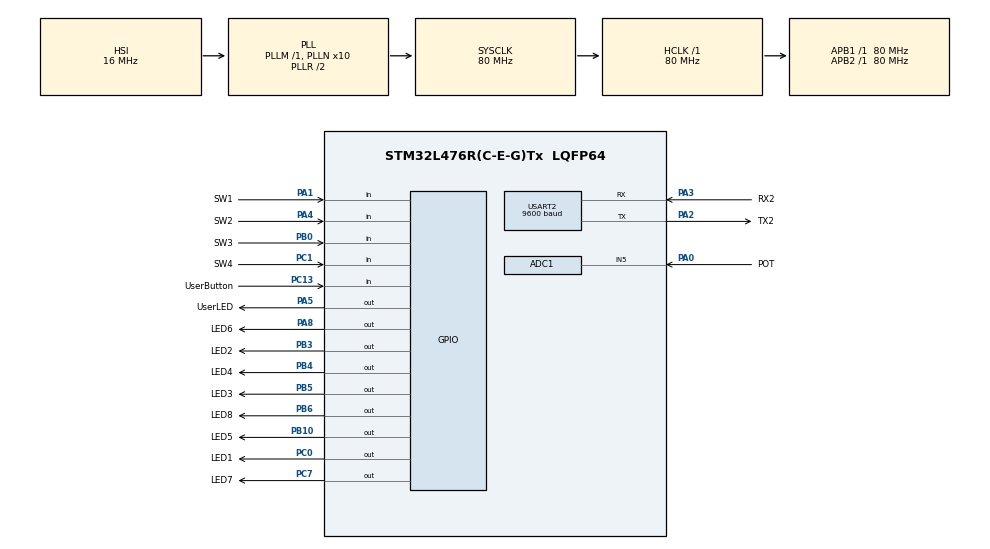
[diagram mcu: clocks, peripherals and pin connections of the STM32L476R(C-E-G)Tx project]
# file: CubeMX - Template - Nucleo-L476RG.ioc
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ADC1.Channel-0\#ChannelRegularConversion=ADC_CHANNEL_5
ADC1.NbrOfConversionFlag=1
ADC1.OffsetNumber-0\#ChannelRegularConversion=ADC_OFFSET_NONE
ADC1.Overrun=ADC_OVR_DATA_OVERWRITTEN
ADC1.Rank-0\#ChannelRegularConversion=1
ADC1.Resolution=ADC_RESOLUTION_12B
ADC1.SamplingTime-0\#ChannelRegularConversion=ADC_SAMPLETIME_2CYCLES_5
ADC1.master=1
FREERTOS.Queues01=adcQueue,1,uint16_t,0,Dynamic,NULL,NULL
FREERTOS.Tasks01=defaultTask,24,128,StartDefaultTask,Default,NULL,Dynamic,NULL,NULL;runningLightTas,24,128,RunningLight,Default,NULL,Dynamic,NULL,NULL;adConvTask,24,128,AdConversion,Default,NULL,Dynamic,NULL,NULL;uartTxTask,24,128,UartTx,Default,NULL,Dynamic,NULL,NULL
FREERTOS.configUSE_NEWLIB_REENTRANT=0
Mcu.Family=STM32L4
Mcu.Name=STM32L476R(C-E-G)Tx
Mcu.Package=LQFP64
NVIC.PriorityGroup=NVIC_PRIORITYGROUP_4
NVIC.TIM6_DAC_IRQn=true\:15\:0\:false\:false\:true\:false\:false\:true\:true
NVIC.TimeBase=TIM6_DAC_IRQn
NVIC.TimeBaseIP=TIM6
PA0.GPIO_Label=POT
PA0.Signal=ADCx_IN5
PA1.GPIO_Label=SW1
PA1.Signal=GPIO_Input
PA13\ (JTMS-SWDIO).GPIO_Label=TMS
PA13\ (JTMS-SWDIO).Mode=Serial_Wire
PA13\ (JTMS-SWDIO).Signal=SYS_JTMS-SWDIO
PA14\ (JTCK-SWCLK).GPIO_Label=TCK
PA14\ (JTCK-SWCLK).Mode=Serial_Wire
PA14\ (JTCK-SWCLK).Signal=SYS_JTCK-SWCLK
PA2.GPIO_Label=TX2
PA2.GPIO_Mode=GPIO_MODE_AF_PP
PA2.GPIO_PuPd=GPIO_NOPULL
PA2.GPIO_Speed=GPIO_SPEED_FREQ_VERY_HIGH
PA2.Mode=Asynchronous
PA2.Signal=USART2_TX
PA3.GPIO_Label=RX2
PA3.GPIO_Mode=GPIO_MODE_AF_PP
PA3.GPIO_PuPd=GPIO_NOPULL
PA3.GPIO_Speed=GPIO_SPEED_FREQ_VERY_HIGH
PA3.Mode=Asynchronous
PA3.Signal=USART2_RX
PA4.GPIO_Label=SW2
PA4.Signal=GPIO_Input
PA5.GPIO_Label=UserLED
PA5.GPIO_ModeDefaultOutputPP=GPIO_MODE_OUTPUT_PP
PA5.GPIO_PuPd=GPIO_NOPULL
PA5.GPIO_Speed=GPIO_SPEED_FREQ_LOW
PA5.Signal=GPIO_Output
PA8.GPIO_Label=LED6
PA8.Signal=GPIO_Output
PB0.GPIO_Label=SW3
PB0.Signal=GPIO_Input
PB10.GPIO_Label=LED5
PB10.Signal=GPIO_Output
PB3\ (JTDO-TRACESWO).GPIO_Label=LED2
PB3\ (JTDO-TRACESWO).Signal=GPIO_Output
PB4\ (NJTRST).GPIO_Label=LED4
PB4\ (NJTRST).Signal=GPIO_Output
PB5.GPIO_Label=LED3
PB5.Signal=GPIO_Output
PB6.GPIO_Label=LED8
PB6.Signal=GPIO_Output
PC0.GPIO_Label=LED1
PC0.Signal=GPIO_Output
PC1.GPIO_Label=SW4
PC1.Signal=GPIO_Input
PC13.GPIO_Label=UserButton
PC13.Signal=GPIO_Input
PC7.GPIO_Label=LED7
PC7.Signal=GPIO_Output
ProjectManager.HeapSize=0x200
ProjectManager.StackSize=0x400
ProjectManager.TargetToolchain=Makefile
RCC.ADCFreq_Value=64000000
RCC.AHBFreq_Value=80000000
RCC.APB1Freq_Value=80000000
RCC.APB1TimFreq_Value=80000000
RCC.APB2Freq_Value=80000000
RCC.APB2TimFreq_Value=80000000
RCC.CortexFreq_Value=80000000
RCC.HCLKFreq_Value=80000000
RCC.HSE_VALUE=8000000
RCC.HSI_VALUE=16000000
RCC.LSE_VALUE=32768
RCC.MSI_VALUE=4000000
RCC.PLLN=10
RCC.PLLSourceVirtual=RCC_PLLSOURCE_HSI
RCC.PREFETCH_ENABLE=1
RCC.SYSCLKFreq_VALUE=80000000
RCC.SYSCLKSource=RCC_SYSCLKSOURCE_PLLCLK
RCC.USBFreq_Value=64000000
RCC.VCOOutputFreq_Value=160000000
SH.ADCx_IN5.0=ADC1_IN5,IN5-Single-Ended
USART2.BaudRate=9600
USART2.OverrunDisableParam=ADVFEATURE_OVERRUN_DISABLE
USART2.VirtualMode-Asynchronous=VM_ASYNC
VP_FREERTOS_VS_CMSIS_V2.Mode=CMSIS_V2
VP_SYS_VS_tim6.Mode=TIM6
board=NUCLEO-L476RG

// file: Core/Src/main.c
/* USER CODE BEGIN Header */
/**
  ******************************************************************************
  * @file           : main.c
  * @brief          : Main program body
  ******************************************************************************
  * @attention
  *
  * Copyright (c) 2023 STMicroelectronics.
  * All rights reserved.
  *
  * This software is licensed under terms that can be found in the LICENSE file
  * in the root directory of this software component.
  * If no LICENSE file comes with this software, it is provided AS-IS.
  *
  ******************************************************************************
  */
	// Versie: 20252026
/* USER CODE END Header */
#include "main.h"
#include "cmsis_os.h"

/* USER CODE BEGIN Includes */
#include "leds.h"
#include "buttons.h"
#include "usart2.h"
#include "ad.h"
#include "stdio.h"
#include "stdlib.h"
/* USER CODE END Includes */

ADC_HandleTypeDef hadc1;

UART_HandleTypeDef huart2;

/* Definitions for defaultTask */
osThreadId_t defaultTaskHandle;
const osThreadAttr_t defaultTask_attributes = {
  .name = "defaultTask",
  .stack_size = 128 * 4,
  .priority = (osPriority_t) osPriorityNormal,
};
/* Definitions for runningLightTas */
osThreadId_t runningLightTasHandle;
const osThreadAttr_t runningLightTas_attributes = {
  .name = "runningLightTas",
  .stack_size = 128 * 4,
  .priority = (osPriority_t) osPriorityNormal,
};
/* Definitions for adConvTask */
osThreadId_t adConvTaskHandle;
const osThreadAttr_t adConvTask_attributes = {
  .name = "adConvTask",
  .stack_size = 128 * 4,
  .priority = (osPriority_t) osPriorityNormal,
};
/* Definitions for uartTxTask */
osThreadId_t uartTxTaskHandle;
const osThreadAttr_t uartTxTask_attributes = {
  .name = "uartTxTask",
  .stack_size = 128 * 4,
  .priority = (osPriority_t) osPriorityNormal,
};
/* Definitions for adcQueue */
osMessageQueueId_t adcQueueHandle;
const osMessageQueueAttr_t adcQueue_attributes = {
  .name = "adcQueue"
};
/* USER CODE BEGIN PV */
static uint8_t count = 0;
/* USER CODE END PV */

void SystemClock_Config(void);
static void MX_GPIO_Init(void);
static void MX_ADC1_Init(void);
static void MX_USART2_UART_Init(void);
void StartDefaultTask(void *argument);
void RunningLight(void *argument);
void AdConversion(void *argument);
void UartTx(void *argument);

int main(void)
{

  /* MCU Configuration--------------------------------------------------------*/

  /* Reset of all peripherals, Initializes the Flash interface and the Systick. */
  HAL_Init();

  /* Configure the system clock */
  SystemClock_Config();

  /* Initialize all configured peripherals */
  MX_GPIO_Init();
  MX_ADC1_Init();
  MX_USART2_UART_Init();
  /* USER CODE BEGIN 2 */
	// Laten weten dat we opgestart zijn, via de USART2 (USB).
	printf("Reboot\r\n");
  /* USER CODE END 2 */

  /* Init scheduler */
  osKernelInitialize();

  /* Create the queue(s) */
  /* creation of adcQueue */
  adcQueueHandle = osMessageQueueNew (1, sizeof(uint16_t), &adcQueue_attributes);

  /* Create the thread(s) */
  /* creation of defaultTask */
  defaultTaskHandle = osThreadNew(StartDefaultTask, NULL, &defaultTask_attributes);

  /* creation of runningLightTas */
  runningLightTasHandle = osThreadNew(RunningLight, NULL, &runningLightTas_attributes);

  /* creation of adConvTask */
  adConvTaskHandle = osThreadNew(AdConversion, NULL, &adConvTask_attributes);

  /* creation of uartTxTask */
  uartTxTaskHandle = osThreadNew(UartTx, NULL, &uartTxTask_attributes);

  /* Start scheduler */
  osKernelStart();

  /* We should never get here as control is now taken by the scheduler */

  /* Infinite loop */
  while (1)
  {

  }
}

void SystemClock_Config(void)
{
  RCC_OscInitTypeDef RCC_OscInitStruct = {0};
  RCC_ClkInitTypeDef RCC_ClkInitStruct = {0};

  /** Configure the main internal regulator output voltage
  */
  if (HAL_PWREx_ControlVoltageScaling(PWR_REGULATOR_VOLTAGE_SCALE1) != HAL_OK)
  {
    Error_Handler();
  }

  /** Initializes the RCC Oscillators according to the specified parameters
  * in the RCC_OscInitTypeDef structure.
  */
  RCC_OscInitStruct.OscillatorType = RCC_OSCILLATORTYPE_HSI;
  RCC_OscInitStruct.HSIState = RCC_HSI_ON;
  RCC_OscInitStruct.HSICalibrationValue = RCC_HSICALIBRATION_DEFAULT;
  RCC_OscInitStruct.PLL.PLLState = RCC_PLL_ON;
  RCC_OscInitStruct.PLL.PLLSource = RCC_PLLSOURCE_HSI;
  RCC_OscInitStruct.PLL.PLLM = 1;
  RCC_OscInitStruct.PLL.PLLN = 10;
  RCC_OscInitStruct.PLL.PLLP = RCC_PLLP_DIV7;
  RCC_OscInitStruct.PLL.PLLQ = RCC_PLLQ_DIV2;
  RCC_OscInitStruct.PLL.PLLR = RCC_PLLR_DIV2;
  if (HAL_RCC_OscConfig(&RCC_OscInitStruct) != HAL_OK)
  {
    Error_Handler();
  }

  /** Initializes the CPU, AHB and APB buses clocks
  */
  RCC_ClkInitStruct.ClockType = RCC_CLOCKTYPE_HCLK|RCC_CLOCKTYPE_SYSCLK
                              |RCC_CLOCKTYPE_PCLK1|RCC_CLOCKTYPE_PCLK2;
  RCC_ClkInitStruct.SYSCLKSource = RCC_SYSCLKSOURCE_PLLCLK;
  RCC_ClkInitStruct.AHBCLKDivider = RCC_SYSCLK_DIV1;
  RCC_ClkInitStruct.APB1CLKDivider = RCC_HCLK_DIV1;
  RCC_ClkInitStruct.APB2CLKDivider = RCC_HCLK_DIV1;

  if (HAL_RCC_ClockConfig(&RCC_ClkInitStruct, FLASH_LATENCY_4) != HAL_OK)
  {
    Error_Handler();
  }
}

static void MX_ADC1_Init(void)
{

  ADC_MultiModeTypeDef multimode = {0};
  ADC_ChannelConfTypeDef sConfig = {0};

  /** Common config
  */
  hadc1.Instance = ADC1;
  hadc1.Init.ClockPrescaler = ADC_CLOCK_ASYNC_DIV1;
  hadc1.Init.Resolution = ADC_RESOLUTION_12B;
  hadc1.Init.DataAlign = ADC_DATAALIGN_RIGHT;
  hadc1.Init.ScanConvMode = ADC_SCAN_DISABLE;
  hadc1.Init.EOCSelection = ADC_EOC_SINGLE_CONV;
  hadc1.Init.LowPowerAutoWait = DISABLE;
  hadc1.Init.ContinuousConvMode = DISABLE;
  hadc1.Init.NbrOfConversion = 1;
  hadc1.Init.DiscontinuousConvMode = DISABLE;
  hadc1.Init.ExternalTrigConv = ADC_SOFTWARE_START;
  hadc1.Init.ExternalTrigConvEdge = ADC_EXTERNALTRIGCONVEDGE_NONE;
  hadc1.Init.DMAContinuousRequests = DISABLE;
  hadc1.Init.Overrun = ADC_OVR_DATA_OVERWRITTEN;
  hadc1.Init.OversamplingMode = DISABLE;
  if (HAL_ADC_Init(&hadc1) != HAL_OK)
  {
    Error_Handler();
  }

  /** Configure the ADC multi-mode
  */
  multimode.Mode = ADC_MODE_INDEPENDENT;
  if (HAL_ADCEx_MultiModeConfigChannel(&hadc1, &multimode) != HAL_OK)
  {
    Error_Handler();
  }

  /** Configure Regular Channel
  */
  sConfig.Channel = ADC_CHANNEL_5;
  sConfig.Rank = ADC_REGULAR_RANK_1;
  sConfig.SamplingTime = ADC_SAMPLETIME_2CYCLES_5;
  sConfig.SingleDiff = ADC_SINGLE_ENDED;
  sConfig.OffsetNumber = ADC_OFFSET_NONE;
  sConfig.Offset = 0;
  if (HAL_ADC_ConfigChannel(&hadc1, &sConfig) != HAL_OK)
  {
    Error_Handler();
  }

}

static void MX_USART2_UART_Init(void)
{

  huart2.Instance = USART2;
  huart2.Init.BaudRate = 9600;
  huart2.Init.WordLength = UART_WORDLENGTH_8B;
  huart2.Init.StopBits = UART_STOPBITS_1;
  huart2.Init.Parity = UART_PARITY_NONE;
  huart2.Init.Mode = UART_MODE_TX_RX;
  huart2.Init.HwFlowCtl = UART_HWCONTROL_NONE;
  huart2.Init.OverSampling = UART_OVERSAMPLING_16;
  huart2.Init.OneBitSampling = UART_ONE_BIT_SAMPLE_DISABLE;
  huart2.AdvancedInit.AdvFeatureInit = UART_ADVFEATURE_RXOVERRUNDISABLE_INIT;
  huart2.AdvancedInit.OverrunDisable = UART_ADVFEATURE_OVERRUN_DISABLE;
  if (HAL_UART_Init(&huart2) != HAL_OK)
  {
    Error_Handler();
  }

}

static void MX_GPIO_Init(void)
{
  GPIO_InitTypeDef GPIO_InitStruct = {0};

  /* GPIO Ports Clock Enable */
  __HAL_RCC_GPIOC_CLK_ENABLE();
  __HAL_RCC_GPIOA_CLK_ENABLE();
  __HAL_RCC_GPIOB_CLK_ENABLE();

  /*Configure GPIO pin Output Level */
  HAL_GPIO_WritePin(GPIOC, LED1_Pin|LED7_Pin, GPIO_PIN_RESET);

  /*Configure GPIO pin Output Level */
  HAL_GPIO_WritePin(GPIOA, UserLED_Pin|LED6_Pin, GPIO_PIN_RESET);

  /*Configure GPIO pin Output Level */
  HAL_GPIO_WritePin(GPIOB, LED5_Pin|LED2_Pin|LED4_Pin|LED3_Pin
                          |LED8_Pin, GPIO_PIN_RESET);

  /*Configure GPIO pins : UserButton_Pin SW4_Pin */
  GPIO_InitStruct.Pin = UserButton_Pin|SW4_Pin;
  GPIO_InitStruct.Mode = GPIO_MODE_INPUT;
  GPIO_InitStruct.Pull = GPIO_NOPULL;
  HAL_GPIO_Init(GPIOC, &GPIO_InitStruct);

  /*Configure GPIO pins : LED1_Pin LED7_Pin */
  GPIO_InitStruct.Pin = LED1_Pin|LED7_Pin;
  GPIO_InitStruct.Mode = GPIO_MODE_OUTPUT_PP;
  GPIO_InitStruct.Pull = GPIO_NOPULL;
  GPIO_InitStruct.Speed = GPIO_SPEED_FREQ_LOW;
  HAL_GPIO_Init(GPIOC, &GPIO_InitStruct);

  /*Configure GPIO pins : SW1_Pin SW2_Pin */
  GPIO_InitStruct.Pin = SW1_Pin|SW2_Pin;
  GPIO_InitStruct.Mode = GPIO_MODE_INPUT;
  GPIO_InitStruct.Pull = GPIO_NOPULL;
  HAL_GPIO_Init(GPIOA, &GPIO_InitStruct);

  /*Configure GPIO pins : UserLED_Pin LED6_Pin */
  GPIO_InitStruct.Pin = UserLED_Pin|LED6_Pin;
  GPIO_InitStruct.Mode = GPIO_MODE_OUTPUT_PP;
  GPIO_InitStruct.Pull = GPIO_NOPULL;
  GPIO_InitStruct.Speed = GPIO_SPEED_FREQ_LOW;
  HAL_GPIO_Init(GPIOA, &GPIO_InitStruct);

  /*Configure GPIO pin : SW3_Pin */
  GPIO_InitStruct.Pin = SW3_Pin;
  GPIO_InitStruct.Mode = GPIO_MODE_INPUT;
  GPIO_InitStruct.Pull = GPIO_NOPULL;
  HAL_GPIO_Init(SW3_GPIO_Port, &GPIO_InitStruct);

  /*Configure GPIO pins : LED5_Pin LED2_Pin LED4_Pin LED3_Pin
                           LED8_Pin */
  GPIO_InitStruct.Pin = LED5_Pin|LED2_Pin|LED4_Pin|LED3_Pin
                          |LED8_Pin;
  GPIO_InitStruct.Mode = GPIO_MODE_OUTPUT_PP;
  GPIO_InitStruct.Pull = GPIO_NOPULL;
  GPIO_InitStruct.Speed = GPIO_SPEED_FREQ_LOW;
  HAL_GPIO_Init(GPIOB, &GPIO_InitStruct);

}

void StartDefaultTask(void *argument)
{
  /* USER CODE BEGIN 5 */
  /* Infinite loop */
  for(;;)
  {
		// Binaire teller maken.
		ByteToLeds(count++);

		// Even wachten.
    osDelay(100);
  }
  /* USER CODE END 5 */
}

void RunningLight(void *argument)
{
  /* USER CODE BEGIN RunningLight */
  uint8_t led_pos = 1;
  uint16_t delay_time = 100; // Startwaarde
  uint16_t msg_value = 0;

  for(;;)
  {
    // Looplicht logica
		led_pos <<= 1;
    ByteToLeds(led_pos);

    if (led_pos > 7) led_pos = 0;

    if (osMessageQueueGet(adcQueueHandle, &msg_value, NULL, 0) == osOK)
    {
       // Begrens de tijd tussen 10ms en 1023ms
       if (msg_value < 10) msg_value = 10;
       if (msg_value > 1023) msg_value = 1023;

       delay_time = msg_value;
    }

    osDelay(delay_time);
  }
  /* USER CODE END RunningLight */
}

void AdConversion(void *argument)
{
  /* USER CODE BEGIN AdConversion */
  static bool userLedState = false;

  for(;;)
  {
    // AD conversie (raw value 0-4095)
    uint16_t raw_value = GetAdValue(&hadc1);

    // Schalen: delen door 4 maakt er 0-1023 van
    uint16_t delay_value = raw_value / 4;

    // Stuur naar queue
    osMessageQueuePut(adcQueueHandle, &delay_value, 0, 0);

    // Toggle User LED
    userLedState = !userLedState;
    SetUserLed(userLedState);

    // Iedere 100 ms meten
    osDelay(100);
  }
  /* USER CODE END AdConversion */
}

void UartTx(void *argument)
{
  /* USER CODE BEGIN UartTx */
  for(;;)
  {
    // Willekeurig getal 0 - UINT16_MAX
    uint16_t random_num = (uint16_t)rand();

    // Print naar UART
    printf("New random number: %u.\r\n", random_num);

    // Iedere seconde
    osDelay(1000);
  }
  /* USER CODE END UartTx */
}

void HAL_TIM_PeriodElapsedCallback(TIM_HandleTypeDef *htim)
{
  if (htim->Instance == TIM6)
  {
    HAL_IncTick();
  }
}

void Error_Handler(void)
{
  __disable_irq();
  while (1)
  {
  }
}
#ifdef USE_FULL_ASSERT
/**
  * @brief  Reports the name of the source file and the source line number
  *         where the assert_param error has occurred.
  * @param  file: pointer to the source file name
  * @param  line: assert_param error line source number
  * @retval None
  */
void assert_failed(uint8_t *file, uint32_t line)
{
  /* USER CODE BEGIN 6 */
  /* User can add his own implementation to report the file name and line number,
     ex: printf("Wrong parameters value: file %s on line %d\r\n", file, line) */
// Versie: 20252026
  /* USER CODE END 6 */
}
#endif /* USE_FULL_ASSERT */
